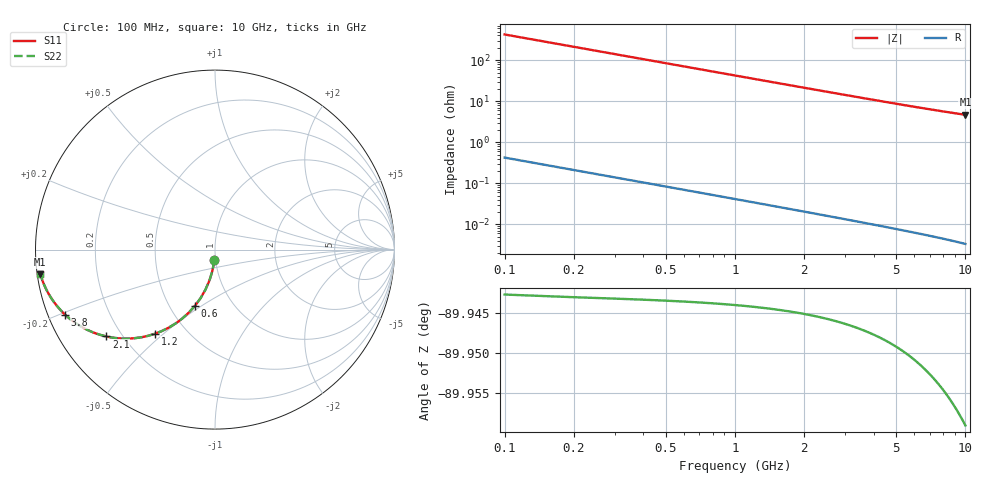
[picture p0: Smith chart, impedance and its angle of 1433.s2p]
# Hz S RI R 50.00
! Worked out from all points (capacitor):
!   100 points, 100 MHz to 10 GHz, reference 50 ohm
!   read as one part in shunt: C = 3.76 pF near 100 MHz
!   lowest |Z| = 4.68 ohm at 10 GHz (marker M1)
!   S11 on the Smith chart (normalised r, x): 100 MHz: 0.99, -0.12; 600 MHz: 0.67, -0.47; 1.2 GHz: 0.33, -0.47; 2.1 GHz: 0.14, -0.34; 3.8 GHz: 0.05, -0.21; 10 GHz: 0.01, -0.07
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1e8  -0.0035 -0.0586  0.9964 -0.0591  0.9964 -0.0591  -0.0035 -0.0586
2e8  -0.0138 -0.1161  0.9861 -0.1169  0.9861 -0.1169  -0.0138 -0.1161
3e8  -0.0306 -0.1711  0.9694 -0.1724  0.9694 -0.1724  -0.0306 -0.1711
4e8  -0.053 -0.2228  0.9469 -0.2245  0.9469 -0.2245  -0.053 -0.2228
5e8  -0.0804 -0.2704  0.9195 -0.2725  0.9195 -0.2725  -0.0804 -0.2704
6e8  -0.1117 -0.3134  0.8882 -0.3159  0.8882 -0.3159  -0.1117 -0.3134
7e8  -0.1461 -0.3513  0.8538 -0.3542  0.8538 -0.3542  -0.1461 -0.3513
9e8  -0.2204 -0.4122  0.7795 -0.4159  0.7795 -0.4159  -0.2204 -0.4122
1.2e9  -0.3343 -0.4687  0.6656 -0.4738  0.6656 -0.4738  -0.3343 -0.4687
1.5e9  -0.4395 -0.4927  0.5604 -0.499  0.5604 -0.499  -0.4395 -0.4927
1.8e9  -0.5302 -0.4948  0.4697 -0.5024  0.4697 -0.5024  -0.5302 -0.4948
2.1e9  -0.6056 -0.4838  0.3943 -0.4926  0.3943 -0.4926  -0.6056 -0.4838
2.4e9  -0.6672 -0.4656  0.3326 -0.4757  0.3326 -0.4757  -0.6672 -0.4656
2.7e9  -0.7173 -0.4441  0.2826 -0.4555  0.2826 -0.4555  -0.7173 -0.4441
3e9  -0.758 -0.4214  0.2418 -0.4341  0.2418 -0.4341  -0.758 -0.4214
3.4e9  -0.801 -0.3914  0.1988 -0.4059  0.1988 -0.4059  -0.801 -0.3914
3.8e9  -0.8342 -0.3632  0.1656 -0.3794  0.1656 -0.3794  -0.8342 -0.3632
4.4e9  -0.871 -0.3251  0.1287 -0.344  0.1287 -0.344  -0.871 -0.3251
5.1e9  -0.9009 -0.287  0.0988 -0.3091  0.0988 -0.3091  -0.9009 -0.287
6.7e9  -0.9405 -0.2208  0.059 -0.2502  0.059 -0.2502  -0.9405 -0.2208
8.4e9  -0.9617 -0.1716  0.0375 -0.2092  0.0375 -0.2092  -0.9617 -0.1716
1e10  -0.9729 -0.1371  0.0259 -0.1828  0.0259 -0.1828  -0.9729 -0.1371
